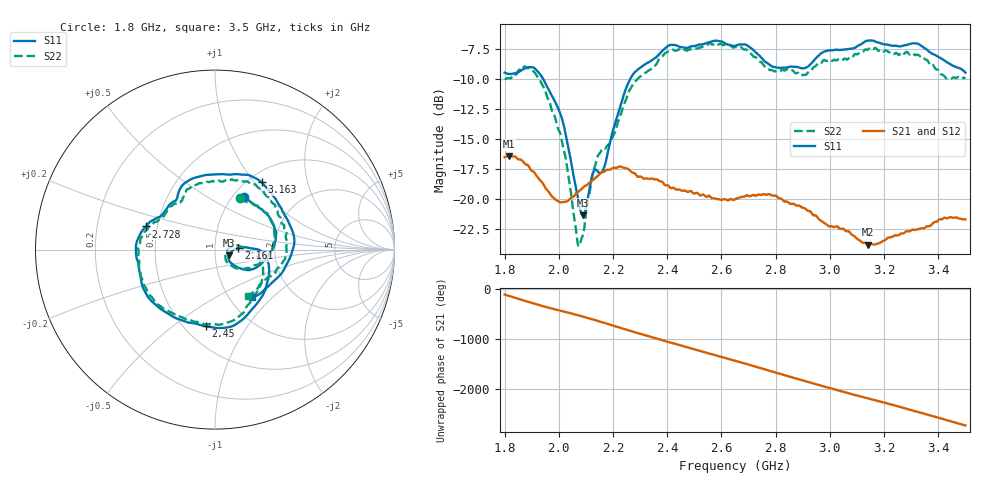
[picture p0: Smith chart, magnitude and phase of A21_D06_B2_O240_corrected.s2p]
! Created with skrf 1.9.0 (http://scikit-rf.org).
# Hz S RI R 50.0
!freq ReS11 ImS11 ReS21 ImS21 ReS12 ImS12 ReS22 ImS22
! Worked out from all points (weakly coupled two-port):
!   1601 points, 1.8 GHz to 3.5 GHz, reference 50 ohm
!   highest |S21| = -16.45 dB at 1.815 GHz (marker M1); lowest = -23.9 dB at 3.142 GHz (marker M2)
!   lowest |S11| = -21.4 dB at 2.09 GHz (marker M3), VSWR 1.19, Z = 58.5 - j3.7 ohm
!   |S11| at or under -10 dB: 1.942 GHz to 2.263 GHz (321.1 MHz wide, 15.3 % of centre)
!   |S22| runs from -24.0 to -7.0 dB; largest |S21 - S12| = 0.0025
!   S11 on the Smith chart (normalised r, x): 1.8 GHz: 1.13, +0.75; 2.161 GHz: 1.30, +0.02; 2.45 GHz: 0.63, -0.66; 2.728 GHz: 0.43, +0.13; 3.163 GHz: 1.15, +1.09; 3.5 GHz: 1.28, -0.76
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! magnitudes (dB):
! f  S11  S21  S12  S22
! 1.8 GHz  -9.5  -16.5  -16.5  -10.0
! 1.815 GHz  -9.6  -16.4  -16.4  -9.9
! 1.881 GHz  -9.1  -17.2  -17.2  -9.1
! 1.943 GHz  -10.0  -18.8  -18.8  -10.7
! 2.013 GHz  -13.4  -20.3  -20.3  -15.3
! 2.068 GHz  -19.7  -19.5  -19.5  -23.4
! 2.084 GHz  -21.2  -19.2  -19.2  -23.3
! 2.09 GHz  -21.4  -19.1  -19.1  -22.9
! 2.128 GHz  -17.7  -18.4  -18.4  -17.6
! 2.161 GHz  -17.7  -17.8  -17.7  -15.8
! 2.26 GHz  -10.2  -17.6  -17.6  -11.0
! 2.367 GHz  -8.0  -18.5  -18.4  -8.4
! 2.45 GHz  -7.3  -19.3  -19.3  -7.6
! 2.65 GHz  -7.2  -20.1  -20.0  -7.3
! 2.728 GHz  -7.8  -19.8  -19.8  -8.2
! 2.802 GHz  -9.0  -19.8  -19.8  -9.3
! 2.934 GHz  -8.7  -21.2  -21.2  -9.2
! 3.142 GHz  -6.8  -23.9  -23.7  -7.5
! 3.163 GHz  -6.8  -23.8  -23.8  -7.5
! 3.217 GHz  -7.2  -23.3  -23.2  -7.8
! 3.324 GHz  -7.1  -22.6  -22.5  -8.0
! 3.5 GHz  -9.5  -21.7  -21.7  -10.0
